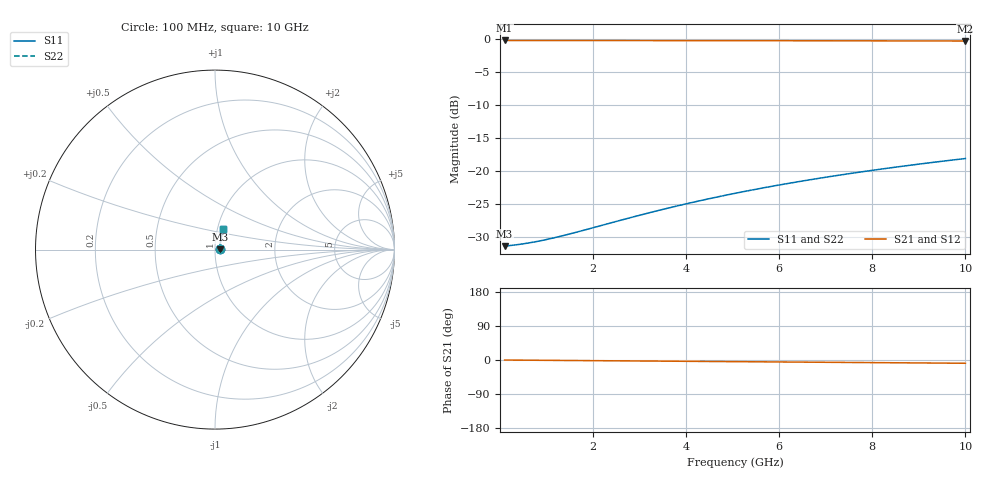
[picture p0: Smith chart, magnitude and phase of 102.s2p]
# Hz S RI R 50.00
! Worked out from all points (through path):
!   100 points, 100 MHz to 10 GHz, reference 50 ohm
!   highest |S21| = -0.24 dB at 100 MHz (marker M1); lowest = -0.3 dB at 10 GHz (marker M2)
!   group delay of S21, straight-line fit = 2.39 ps
!   lowest |S11| = -31.4 dB at 100 MHz (marker M3), VSWR 1.06, Z = 52.8 + j0.125 ohm
!   |S11| at or under -10 dB: start of sweep to end of sweep
!   |S22| runs from -31.4 to -18.1 dB; largest |S21 - S12| = 0
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1e8  0.027 0.00118  0.973 -0.00147  0.973 -0.00147  0.027 0.00118
3e8  0.0273 0.00354  0.9727 -0.0044  0.9727 -0.0044  0.0273 0.00354
5e8  0.0275 0.0059  0.9725 -0.00733  0.9725 -0.00733  0.0275 0.0059
7e8  0.0277 0.00826  0.9723 -0.0103  0.9723 -0.0103  0.0277 0.00826
9e8  0.0279 0.0106  0.9721 -0.0132  0.9721 -0.0132  0.0279 0.0106
1.1e9  0.0281 0.013  0.9719 -0.0161  0.9719 -0.0161  0.0281 0.013
1.3e9  0.0282 0.0153  0.9718 -0.0191  0.9718 -0.0191  0.0282 0.0153
1.8e9  0.0287 0.0212  0.9713 -0.0264  0.9713 -0.0264  0.0287 0.0212
2.8e9  0.0298 0.0329  0.9702 -0.041  0.9702 -0.041  0.0298 0.0329
3.4e9  0.0305 0.04  0.9694 -0.0497  0.9694 -0.0497  0.0305 0.04
3.8e9  0.0311 0.0446  0.9688 -0.0555  0.9688 -0.0555  0.0311 0.0446
4.2e9  0.0318 0.0493  0.9682 -0.0613  0.9682 -0.0613  0.0318 0.0493
4.6e9  0.0324 0.0539  0.9675 -0.0671  0.9675 -0.0671  0.0324 0.0539
5.1e9  0.0334 0.0597  0.9665 -0.0743  0.9665 -0.0743  0.0334 0.0597
5.5e9  0.0342 0.0643  0.9657 -0.0801  0.9657 -0.0801  0.0342 0.0643
5.9e9  0.035 0.069  0.9648 -0.0859  0.9648 -0.0859  0.035 0.069
6.3e9  0.0359 0.0736  0.9639 -0.0916  0.9639 -0.0916  0.0359 0.0736
6.7e9  0.0369 0.0781  0.9629 -0.0974  0.9629 -0.0974  0.0369 0.0781
7.5e9  0.039 0.0873  0.9608 -0.1088  0.9608 -0.1088  0.039 0.0873
8.4e9  0.0415 0.0974  0.9581 -0.1215  0.9581 -0.1215  0.0415 0.0974
9.2e9  0.0441 0.1064  0.9556 -0.1328  0.9556 -0.1328  0.0441 0.1064
1e10  0.0468 0.1153  0.9528 -0.144  0.9528 -0.144  0.0468 0.1153
